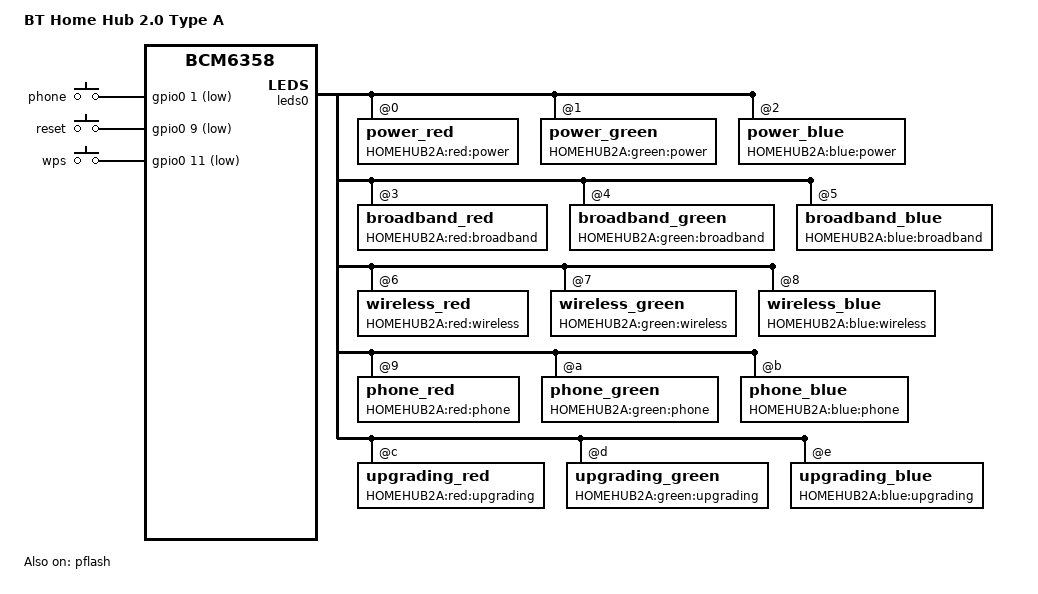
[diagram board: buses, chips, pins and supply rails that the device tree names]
/dts-v1/;

#include "bcm6358.dtsi"

#include <dt-bindings/input/input.h>

/ {
	model = "BT Home Hub 2.0 Type A";
	compatible = "thomson,homehub2a", "brcm,bcm6358";

	gpio-keys-polled {
		compatible = "gpio-keys-polled";
		#address-cells = <1>;
		#size-cells = <0>;
		poll-interval = <20>;
		debounce-interval = <60>;

		phone {
			label = "phone";
			gpios = <&gpio0 1 1>;
			linux,code = <169>;
		};
		reset {
			label = "reset";
			gpios = <&gpio0 9 1>;
			linux,code = <KEY_RESTART>;
		};
		wps {
			label = "wps";
			gpios = <&gpio0 11 1>;
			linux,code = <KEY_WPS_BUTTON>;
		};
	};
};

&leds0 {
	status = "ok";

	power_red@0 {
		reg = <0>;
		active-low;
		label = "HOMEHUB2A:red:power";
	};
	power_green@1 {
		reg = <1>;
		active-low;
		label = "HOMEHUB2A:green:power";
		default-state = "on";
	};
	power_blue@2 {
		reg = <2>;
		active-low;
		label = "HOMEHUB2A:blue:power";
	};
	broadband_red@3 {
		reg = <3>;
		active-low;
		label = "HOMEHUB2A:red:broadband";
	};
	broadband_green@4 {
		reg = <4>;
		active-low;
		label = "HOMEHUB2A:green:broadband";
	};
	broadband_blue@5 {
		reg = <5>;
		active-low;
		label = "HOMEHUB2A:blue:broadband";
	};
	wireless_red@6 {
		reg = <6>;
		active-low;
		label = "HOMEHUB2A:red:wireless";
	};
	wireless_green@7 {
		reg = <7>;
		active-low;
		label = "HOMEHUB2A:green:wireless";
	};
	wireless_blue@8 {
		reg = <8>;
		active-low;
		label = "HOMEHUB2A:blue:wireless";
	};
	phone_red@9 {
		reg = <9>;
		active-low;
		label = "HOMEHUB2A:red:phone";
	};
	phone_green@10 {
		reg = <10>;
		active-low;
		label = "HOMEHUB2A:green:phone";
	};
	phone_blue@11 {
		reg = <11>;
		active-low;
		label = "HOMEHUB2A:blue:phone";
	};
	upgrading_red@12 {
		reg = <12>;
		active-low;
		label = "HOMEHUB2A:red:upgrading";
	};
	upgrading_green@13 {
		reg = <13>;
		active-low;
		label = "HOMEHUB2A:green:upgrading";
	};
	upgrading_blue@14 {
		reg = <14>;
		active-low;
		label = "HOMEHUB2A:blue:upgrading";
	};
};

&pflash {
	status = "ok";

	linux,part-probe = "bcm63xxpart";

	cfe@0 {
		label = "CFE";
		reg = <0x000000 0x020000>;
	};

	linux@20000 {
		label = "linux";
		reg = <0x020000 0xfc0000>;
	};

	nvram@fe0000 {
		label = "nvram";
		reg = <0xfe0000 0x020000>;
	};
};
